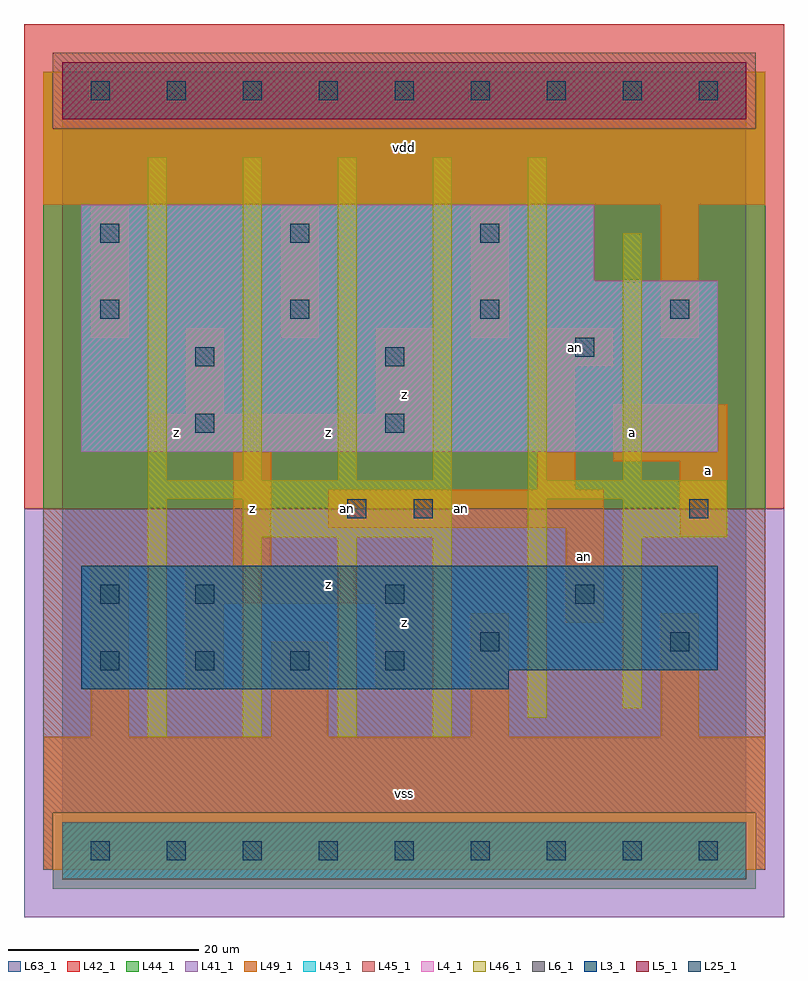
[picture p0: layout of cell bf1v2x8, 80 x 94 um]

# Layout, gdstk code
import gdstk
lib = gdstk.Library(unit=1e-6, precision=1e-09)
def R(c, l, rs):  # rectangles x0, y0, x1, y1
    for r in rs: c.add(gdstk.rectangle(r[:2], r[2:], *l))
def A(c, l, x, y, w, h, nx, ny, dx, dy):  # array of equal rectangles
    R(c, l, [(x+i*dx, y+j*dy, x+i*dx+w, y+j*dy+h) for i in range(nx) for j in range(ny)])
L3_1 = (3, 1)
L4_1 = (4, 1)
L5_1 = (5, 1)
L6_1 = (6, 1)
L25_1 = (25, 1)
L41_1 = (41, 1)
L42_1 = (42, 1)
L43_1 = (43, 1)
L44_1 = (44, 1)
L45_1 = (45, 1)
L46_1 = (46, 1)
L49_1 = (49, 1)
L63_1 = (63, 1)

bf1v2x8 = lib.new_cell('bf1v2x8')
R(bf1v2x8, L3_1, [(2,17,47,19), (2,19,69,30)])
R(bf1v2x8, L4_1, [(2,42,69,60), (2,60,56,68)])
R(bf1v2x8, L5_1, [(0,77,72,83)])
R(bf1v2x8, L6_1, [(0,-3,72,3), (0,-3,72,3)])
A(bf1v2x8, L25_1, 3, -1, 2, 2, 9, 2, 8, 80)
A(bf1v2x8, L25_1, 4, 19, 2, 2, 4, 1, 10, 0)
A(bf1v2x8, L25_1, 14, 26, 2, 2, 3, 1, 20, 0)
A(bf1v2x8, L25_1, 4, 56, 2, 2, 4, 1, 20, 0)
A(bf1v2x8, L25_1, 4, 64, 2, 2, 3, 1, 20, 0)
R(bf1v2x8, L25_1, [(44,21,46,23), (64,21,66,23), (4,26,6,28), (30,35,32,37), (37,35,39,37), (66,35,68,37), (14,44,16,46), (34,44,36,46), (14,51,16,53), (34,51,36,53), (54,52,56,54)])
R(bf1v2x8, L41_1, [(-4,-7,76,36)])
R(bf1v2x8, L42_1, [(-4,36,76,87)])
R(bf1v2x8, L43_1, [(0,-3,72,3), (2,17,47,19), (2,19,69,30), (2,42,69,60), (2,60,56,68), (0,77,72,83)])
R(bf1v2x8, L44_1, [(-1,-4,73,4), (-2,36,74,76), (-2,76,-1,82), (73,76,74,82)])
R(bf1v2x8, L45_1, [(-2,-2,-1,4), (73,-2,74,4), (-2,4,74,36), (-1,76,73,84)])
A(bf1v2x8, L46_1, 19, 12, 2, 21, 3, 1, 10, 0)
A(bf1v2x8, L46_1, 9, 39, 2, 34, 5, 1, 10, 0)
R(bf1v2x8, L46_1, [(9,12,11,37), (49,14,51,37), (59,15,61,33), (19,33,41,37), (59,33,70,37), (9,37,41,39), (49,37,70,39), (59,39,61,65)])
A(bf1v2x8, L49_1, 3, 54, 4, 14, 4, 1, 20, 0)
R(bf1v2x8, L49_1, [(-2,-2,74,12), (3,12,7,30), (22,12,28,22), (43,12,47,25), (63,12,67,25), (13,17,17,26), (33,17,39,26), (53,24,57,34), (13,26,39,30), (18,30,22,42), (65,33,70,41), (28,34,57,38), (50,38,54,51), (58,41,70,47), (9,42,39,46), (13,46,17,55), (33,46,39,55), (50,51,58,55), (-2,68,74,82)])
R(bf1v2x8, L63_1, [(0,0,72,80)])
bf1v2x8.add(gdstk.Label('an', (30,36), layer=49, texttype=1))
bf1v2x8.add(gdstk.Label('z', (12,44), layer=49, texttype=1))
bf1v2x8.add(gdstk.Label('z', (20,36), layer=49, texttype=1))
bf1v2x8.add(gdstk.Label('vss', (36,6), layer=49, texttype=1))
bf1v2x8.add(gdstk.Label('z', (28,28), layer=49, texttype=1))
bf1v2x8.add(gdstk.Label('z', (36,24), layer=49, texttype=1))
bf1v2x8.add(gdstk.Label('z', (28,44), layer=49, texttype=1))
bf1v2x8.add(gdstk.Label('z', (36,48), layer=49, texttype=1))
bf1v2x8.add(gdstk.Label('vdd', (36,74), layer=49, texttype=1))
bf1v2x8.add(gdstk.Label('an', (55,31), layer=49, texttype=1))
bf1v2x8.add(gdstk.Label('an', (42,36), layer=49, texttype=1))
bf1v2x8.add(gdstk.Label('an', (54,53), layer=49, texttype=1))
bf1v2x8.add(gdstk.Label('a', (60,44), layer=49, texttype=1))
bf1v2x8.add(gdstk.Label('a', (68,40), layer=49, texttype=1))

lib.write_gds('bf1v2x8.gds')
